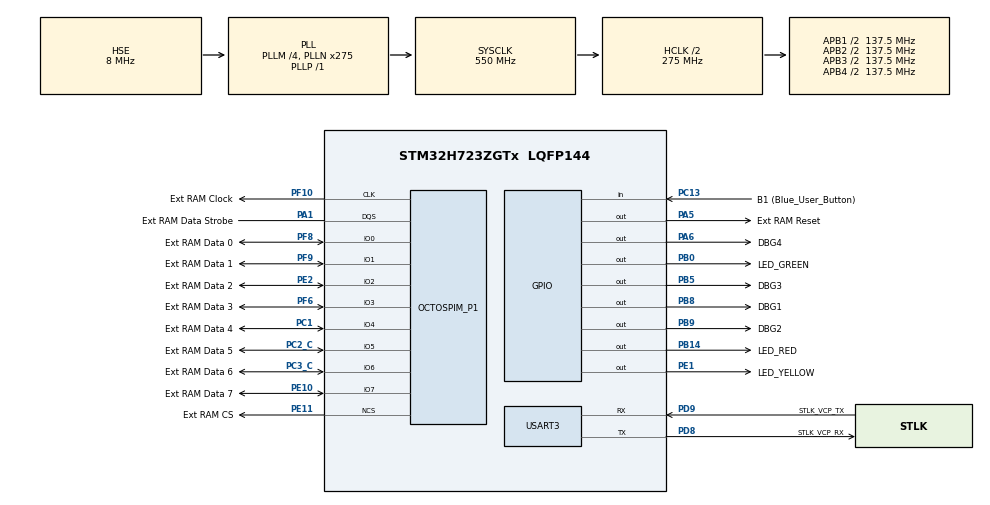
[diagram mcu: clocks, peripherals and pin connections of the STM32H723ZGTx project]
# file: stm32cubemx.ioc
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FREERTOS.Tasks01=defaultTask,24,128,StartDefaultTask,Default,NULL,Dynamic,NULL,NULL
FREERTOS.configUSE_NEWLIB_REENTRANT=1
Mcu.Family=STM32H7
Mcu.Name=STM32H723ZGTx
Mcu.Package=LQFP144
NVIC.PriorityGroup=NVIC_PRIORITYGROUP_4
NVIC.TIM6_DAC_IRQn=true\:0\:0\:true\:false\:true\:false\:false\:true
NVIC.TimeBase=TIM6_DAC_IRQn
NVIC.TimeBaseIP=TIM6
OCTOSPI1.DeviceSize=32
OCTOSPI1.FreeRunningClock=HAL_OSPI_FREERUNCLK_DISABLE
PA1.GPIO_Label=Ext RAM Data Strobe
PA1.Mode=OCTOSPI1_Port1_DQS
PA1.Signal=OCTOSPIM_P1_DQS
PA13(JTMS/SWDIO).GPIO_Label=SWDIO
PA13(JTMS/SWDIO).Mode=Trace_Asynchronous_SW
PA13(JTMS/SWDIO).Signal=DEBUG_JTMS-SWDIO
PA14(JTCK/SWCLK).GPIO_Label=SWCLK
PA14(JTCK/SWCLK).Mode=Trace_Asynchronous_SW
PA14(JTCK/SWCLK).Signal=DEBUG_JTCK-SWCLK
PA5.GPIO_Label=Ext RAM Reset
PA5.PinState=GPIO_PIN_SET
PA5.Signal=GPIO_Output
PA6.GPIO_Label=DBG4
PA6.Signal=GPIO_Output
PB0.GPIO_Label=LED_GREEN
PB0.Signal=GPIO_Output
PB14.GPIO_Label=LED_RED
PB14.Signal=GPIO_Output
PB3(JTDO/TRACESWO).GPIO_Label=SWO
PB3(JTDO/TRACESWO).Mode=Trace_Asynchronous_SW
PB3(JTDO/TRACESWO).Signal=DEBUG_JTDO-SWO
PB5.GPIO_Label=DBG3
PB5.Signal=GPIO_Output
PB8.GPIO_Label=DBG1
PB8.Signal=GPIO_Output
PB9.GPIO_Label=DBG2
PB9.Signal=GPIO_Output
PC1.GPIO_Label=Ext RAM Data 4
PC1.Mode=OCTOSPI1_IOH_Port1H
PC1.Signal=OCTOSPIM_P1_IO4
PC13.GPIO_Label=B1 (Blue_User_Button)
PC13.Signal=GPIO_Input
PC14-OSC32_IN.Mode=LSE-External-Oscillator
PC14-OSC32_IN.Signal=RCC_OSC32_IN
PC15-OSC32_OUT.Mode=LSE-External-Oscillator
PC15-OSC32_OUT.Signal=RCC_OSC32_OUT
PC2_C.GPIO_Label=Ext RAM Data 5
PC2_C.Mode=OCTOSPI1_IOH_Port1H
PC2_C.Signal=OCTOSPIM_P1_IO5
PC3_C.GPIO_Label=Ext RAM Data 6
PC3_C.Mode=OCTOSPI1_IOH_Port1H
PC3_C.Signal=OCTOSPIM_P1_IO6
PD8.GPIO_Label=STLK_VCP_RX
PD8.Mode=Asynchronous
PD8.Signal=USART3_TX
PD9.GPIO_Label=STLK_VCP_TX
PD9.Mode=Asynchronous
PD9.Signal=USART3_RX
PE1.GPIO_Label=LED_YELLOW
PE1.Signal=GPIO_Output
PE10.GPIO_Label=Ext RAM Data 7
PE10.Mode=OCTOSPI1_IOH_Port1H
PE10.Signal=OCTOSPIM_P1_IO7
PE11.GPIO_Label=Ext RAM CS
PE11.Mode=OCTOSPI1_Port1_NCS
PE11.Signal=OCTOSPIM_P1_NCS
PE2.GPIO_Label=Ext RAM Data 2
PE2.Mode=OCTOSPI1_IOL_Port1L
PE2.Signal=OCTOSPIM_P1_IO2
PF10.GPIO_Label=Ext RAM Clock
PF10.Mode=O1_P1_CLK
PF10.Signal=OCTOSPIM_P1_CLK
PF6.GPIO_Label=Ext RAM Data 3
PF6.Mode=OCTOSPI1_IOL_Port1L
PF6.Signal=OCTOSPIM_P1_IO3
PF8.GPIO_Label=Ext RAM Data 0
PF8.Mode=OCTOSPI1_IOL_Port1L
PF8.Signal=OCTOSPIM_P1_IO0
PF9.GPIO_Label=Ext RAM Data 1
PF9.Mode=OCTOSPI1_IOL_Port1L
PF9.Signal=OCTOSPIM_P1_IO1
PH0-OSC_IN.GPIO_Label=MCO
PH0-OSC_IN.Mode=HSE-External-Clock-Source
PH0-OSC_IN.Signal=RCC_OSC_IN
PH1-OSC_OUT.Signal=RCC_OSC_OUT
ProjectManager.HeapSize=0x8000
ProjectManager.StackSize=0x400
ProjectManager.TargetToolchain=STM32CubeIDE
RCC.ADCFreq_Value=76000000
RCC.APB1Freq_Value=137500000
RCC.APB2Freq_Value=137500000
RCC.APB3Freq_Value=137500000
RCC.APB4Freq_Value=137500000
RCC.CortexFreq_Value=550000000
RCC.D1PPRE=RCC_APB3_DIV2
RCC.D2PPRE1=RCC_APB1_DIV2
RCC.D2PPRE2=RCC_APB2_DIV2
RCC.D3PPRE=RCC_APB4_DIV2
RCC.DIVM1=4
RCC.DIVM2=1
RCC.DIVN1=275
RCC.DIVN2=19
RCC.DIVP1=1
RCC.DIVQ1=4
RCC.HCLKFreq_Value=275000000
RCC.HPRE=RCC_HCLK_DIV2
RCC.HSE_VALUE=8000000
RCC.HSIDiv=RCC_PLLSAIDIVR_2
RCC.PLLFRACN=0
RCC.PLLSourceVirtual=RCC_PLLSOURCE_HSE
RCC.QSPICLockSelection=RCC_OSPICLKSOURCE_CLKP
RCC.SYSCLKFreq_VALUE=550000000
RCC.SYSCLKSource=RCC_SYSCLKSOURCE_PLLCLK
RCC.USBCLockSelection=RCC_USBCLKSOURCE_HSI48
RCC.USBFreq_Value=48000000
USART3.VirtualMode-Asynchronous=VM_ASYNC
VP_FREERTOS_VS_CMSIS_V2.Mode=CMSIS_V2
VP_OCTOSPI1_VS_octo.Mode=octo_mode
VP_SYS_VS_tim6.Mode=TIM6
board=NUCLEO-H723ZG

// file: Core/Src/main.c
/* USER CODE BEGIN Header */
/**
  ******************************************************************************
  * @file           : main.c
  * @brief          : Main program body
  ******************************************************************************
  * @attention
  *
  * <h2><center>&copy; Copyright (c) 2021 STMicroelectronics.
  * All rights reserved.</center></h2>
  *
  * This software component is licensed by ST under Ultimate Liberty license
  * SLA0044, the "License"; You may not use this file except in compliance with
  * the License. You may obtain a copy of the License at:
  *                             www.st.com/SLA0044
  *
  ******************************************************************************
  */
/* USER CODE END Header */
#include "main.h"
#include "cmsis_os.h"

/* USER CODE BEGIN Includes */

#define LOG_MODULE_NAME         app
#define LOG_LEVEL               LOG_LEVEL_DEBUG

#include "log.h"

#include "debug.h"
#include "external_ram.h"

/* USER CODE END Includes */

OSPI_HandleTypeDef hospi1;

UART_HandleTypeDef huart3;

/* Definitions for defaultTask */
osThreadId_t defaultTaskHandle;
const osThreadAttr_t defaultTask_attributes = {
  .name = "defaultTask",
  .stack_size = 128 * 4,
  .priority = (osPriority_t) osPriorityNormal,
};

void SystemClock_Config(void);
void PeriphCommonClock_Config(void);
static void MX_GPIO_Init(void);
static void MX_USART3_UART_Init(void);
static void MX_OCTOSPI1_Init(void);
void StartDefaultTask(void *argument);

/* USER CODE BEGIN 0 */

static void _dump_ospim_regs(const char *descript)
{
    LOG_DEBUG("%s (0x%08x)\n", descript, OCTOSPIM);
    LOG_DEBUG(" %6s: 0x%08x (0x%08x)\n", "CR", OCTOSPIM->CR, &OCTOSPIM->CR);
    LOG_DEBUG(" %6s: 0x%08x (0x%08x)\n", "P1CR", OCTOSPIM->PCR[0], &OCTOSPIM->PCR[0]);
    LOG_DEBUG(" %6s: 0x%08x (0x%08x)\n", "P2CR", OCTOSPIM->PCR[1], &OCTOSPIM->PCR[1]);
}

#if 0
static void _fix_ospim_regs(void)
{
    OCTOSPIM->PCR[0] = 0x03010111;
    OCTOSPIM->PCR[1] = 0x07050333;
}
#endif
/* USER CODE END 0 */

int main(void)
{

  /* MCU Configuration--------------------------------------------------------*/

  /* Reset of all peripherals, Initializes the Flash interface and the Systick. */
  HAL_Init();

  /* USER CODE BEGIN Init */
  // Create this as early as possible so that the queue is available to store
  // messages from other initialization routines
  log_task_init();

  /* USER CODE END Init */

  /* Configure the system clock */
  SystemClock_Config();

/* Configure the peripherals common clocks */
  PeriphCommonClock_Config();

  /* USER CODE BEGIN SysInit */

  // Move GPIO init earlier so that we can init the debug pins before the other
  // peripheral initializations.
  MX_GPIO_Init();

  // Initialize the debug pins after the GPIO is running
  debug_init();

  /* USER CODE END SysInit */

  /* Initialize all configured peripherals */
  MX_USART3_UART_Init();
  MX_OCTOSPI1_Init();
  /* USER CODE BEGIN 2 */

  external_ram_init(&hospi1);

  LOG_DEBUG("Ready\n");
  /* USER CODE END 2 */

  /* Init scheduler */
  osKernelInitialize();

  /* Create the thread(s) */
  /* creation of defaultTask */
  defaultTaskHandle = osThreadNew(StartDefaultTask, NULL, &defaultTask_attributes);

  /* Start scheduler */
  osKernelStart();

  /* We should never get here as control is now taken by the scheduler */
  /* Infinite loop */
  while (1)
  {

  }
}

void SystemClock_Config(void)
{
  RCC_OscInitTypeDef RCC_OscInitStruct = {0};
  RCC_ClkInitTypeDef RCC_ClkInitStruct = {0};

  /** Supply configuration update enable
  */
  HAL_PWREx_ConfigSupply(PWR_LDO_SUPPLY);
  /** Configure the main internal regulator output voltage
  */
  __HAL_PWR_VOLTAGESCALING_CONFIG(PWR_REGULATOR_VOLTAGE_SCALE0);

  while(!__HAL_PWR_GET_FLAG(PWR_FLAG_VOSRDY)) {}
  /** Initializes the RCC Oscillators according to the specified parameters
  * in the RCC_OscInitTypeDef structure.
  */
  RCC_OscInitStruct.OscillatorType = RCC_OSCILLATORTYPE_HSI|RCC_OSCILLATORTYPE_HSE;
  RCC_OscInitStruct.HSEState = RCC_HSE_BYPASS;
  RCC_OscInitStruct.HSIState = RCC_HSI_DIV2;
  RCC_OscInitStruct.HSICalibrationValue = RCC_HSICALIBRATION_DEFAULT;
  RCC_OscInitStruct.PLL.PLLState = RCC_PLL_ON;
  RCC_OscInitStruct.PLL.PLLSource = RCC_PLLSOURCE_HSE;
  RCC_OscInitStruct.PLL.PLLM = 4;
  RCC_OscInitStruct.PLL.PLLN = 275;
  RCC_OscInitStruct.PLL.PLLP = 1;
  RCC_OscInitStruct.PLL.PLLQ = 4;
  RCC_OscInitStruct.PLL.PLLR = 2;
  RCC_OscInitStruct.PLL.PLLRGE = RCC_PLL1VCIRANGE_1;
  RCC_OscInitStruct.PLL.PLLVCOSEL = RCC_PLL1VCOWIDE;
  RCC_OscInitStruct.PLL.PLLFRACN = 0;
  if (HAL_RCC_OscConfig(&RCC_OscInitStruct) != HAL_OK)
  {
    Error_Handler();
  }
  /** Initializes the CPU, AHB and APB buses clocks
  */
  RCC_ClkInitStruct.ClockType = RCC_CLOCKTYPE_HCLK|RCC_CLOCKTYPE_SYSCLK
                              |RCC_CLOCKTYPE_PCLK1|RCC_CLOCKTYPE_PCLK2
                              |RCC_CLOCKTYPE_D3PCLK1|RCC_CLOCKTYPE_D1PCLK1;
  RCC_ClkInitStruct.SYSCLKSource = RCC_SYSCLKSOURCE_PLLCLK;
  RCC_ClkInitStruct.SYSCLKDivider = RCC_SYSCLK_DIV1;
  RCC_ClkInitStruct.AHBCLKDivider = RCC_HCLK_DIV2;
  RCC_ClkInitStruct.APB3CLKDivider = RCC_APB3_DIV2;
  RCC_ClkInitStruct.APB1CLKDivider = RCC_APB1_DIV2;
  RCC_ClkInitStruct.APB2CLKDivider = RCC_APB2_DIV2;
  RCC_ClkInitStruct.APB4CLKDivider = RCC_APB4_DIV2;

  if (HAL_RCC_ClockConfig(&RCC_ClkInitStruct, FLASH_LATENCY_3) != HAL_OK)
  {
    Error_Handler();
  }
}

void PeriphCommonClock_Config(void)
{
  RCC_PeriphCLKInitTypeDef PeriphClkInitStruct = {0};

  /** Initializes the peripherals clock
  */
  PeriphClkInitStruct.PeriphClockSelection = RCC_PERIPHCLK_CKPER;
  PeriphClkInitStruct.CkperClockSelection = RCC_CLKPSOURCE_HSI;
  if (HAL_RCCEx_PeriphCLKConfig(&PeriphClkInitStruct) != HAL_OK)
  {
    Error_Handler();
  }
}

static void MX_OCTOSPI1_Init(void)
{

  /* USER CODE BEGIN OCTOSPI1_Init 0 */
  _dump_ospim_regs("Before HAL_OSPI_Init");
  /* USER CODE END OCTOSPI1_Init 0 */

  OSPIM_CfgTypeDef sOspiManagerCfg = {0};

  /* OCTOSPI1 parameter configuration*/
  hospi1.Instance = OCTOSPI1;
  hospi1.Init.FifoThreshold = 1;
  hospi1.Init.DualQuad = HAL_OSPI_DUALQUAD_DISABLE;
  hospi1.Init.MemoryType = HAL_OSPI_MEMTYPE_MICRON;
  hospi1.Init.DeviceSize = 32;
  hospi1.Init.ChipSelectHighTime = 1;
  hospi1.Init.FreeRunningClock = HAL_OSPI_FREERUNCLK_DISABLE;
  hospi1.Init.ClockMode = HAL_OSPI_CLOCK_MODE_0;
  hospi1.Init.WrapSize = HAL_OSPI_WRAP_NOT_SUPPORTED;
  hospi1.Init.ClockPrescaler = 1;
  hospi1.Init.SampleShifting = HAL_OSPI_SAMPLE_SHIFTING_NONE;
  hospi1.Init.DelayHoldQuarterCycle = HAL_OSPI_DHQC_DISABLE;
  hospi1.Init.ChipSelectBoundary = 1;
  hospi1.Init.ClkChipSelectHighTime = 0;
  hospi1.Init.DelayBlockBypass = HAL_OSPI_DELAY_BLOCK_BYPASSED;
  hospi1.Init.MaxTran = 0;
  hospi1.Init.Refresh = 0;
  debug_set(DEBUG_PIN_2);
  if (HAL_OSPI_Init(&hospi1) != HAL_OK)
  {
    Error_Handler();
  }
  debug_clear(DEBUG_PIN_2);

  _dump_ospim_regs("After HAL_OSPI_Init");

  sOspiManagerCfg.ClkPort = 1;
  sOspiManagerCfg.DQSPort = 1;
  sOspiManagerCfg.NCSPort = 1;
  sOspiManagerCfg.IOLowPort = HAL_OSPIM_IOPORT_1_LOW;
  sOspiManagerCfg.IOHighPort = HAL_OSPIM_IOPORT_1_HIGH;
  debug_set(DEBUG_PIN_2);
  if (HAL_OSPIM_Config(&hospi1, &sOspiManagerCfg, HAL_OSPI_TIMEOUT_DEFAULT_VALUE) != HAL_OK)
  {
    Error_Handler();
  }
  debug_clear(DEBUG_PIN_2);
  /* USER CODE BEGIN OCTOSPI1_Init 2 */
  _dump_ospim_regs("After HAL_OSPIM_Config");
  /* USER CODE END OCTOSPI1_Init 2 */

}

static void MX_USART3_UART_Init(void)
{

  huart3.Instance = USART3;
  huart3.Init.BaudRate = 115200;
  huart3.Init.WordLength = UART_WORDLENGTH_8B;
  huart3.Init.StopBits = UART_STOPBITS_1;
  huart3.Init.Parity = UART_PARITY_NONE;
  huart3.Init.Mode = UART_MODE_TX_RX;
  huart3.Init.HwFlowCtl = UART_HWCONTROL_NONE;
  huart3.Init.OverSampling = UART_OVERSAMPLING_16;
  huart3.Init.OneBitSampling = UART_ONE_BIT_SAMPLE_DISABLE;
  huart3.Init.ClockPrescaler = UART_PRESCALER_DIV1;
  huart3.AdvancedInit.AdvFeatureInit = UART_ADVFEATURE_NO_INIT;
  if (HAL_UART_Init(&huart3) != HAL_OK)
  {
    Error_Handler();
  }
  if (HAL_UARTEx_SetTxFifoThreshold(&huart3, UART_TXFIFO_THRESHOLD_1_8) != HAL_OK)
  {
    Error_Handler();
  }
  if (HAL_UARTEx_SetRxFifoThreshold(&huart3, UART_RXFIFO_THRESHOLD_1_8) != HAL_OK)
  {
    Error_Handler();
  }
  if (HAL_UARTEx_DisableFifoMode(&huart3) != HAL_OK)
  {
    Error_Handler();
  }

}

static void MX_GPIO_Init(void)
{
  GPIO_InitTypeDef GPIO_InitStruct = {0};

  /* GPIO Ports Clock Enable */
  __HAL_RCC_GPIOE_CLK_ENABLE();
  __HAL_RCC_GPIOC_CLK_ENABLE();
  __HAL_RCC_GPIOF_CLK_ENABLE();
  __HAL_RCC_GPIOH_CLK_ENABLE();
  __HAL_RCC_GPIOA_CLK_ENABLE();
  __HAL_RCC_GPIOB_CLK_ENABLE();
  __HAL_RCC_GPIOD_CLK_ENABLE();

  /*Configure GPIO pin Output Level */
  HAL_GPIO_WritePin(Ext_RAM_Reset_GPIO_Port, Ext_RAM_Reset_Pin, GPIO_PIN_SET);

  /*Configure GPIO pin Output Level */
  HAL_GPIO_WritePin(DBG4_GPIO_Port, DBG4_Pin, GPIO_PIN_RESET);

  /*Configure GPIO pin Output Level */
  HAL_GPIO_WritePin(GPIOB, LED_GREEN_Pin|LED_RED_Pin|DBG3_Pin|DBG1_Pin
                          |DBG2_Pin, GPIO_PIN_RESET);

  /*Configure GPIO pin Output Level */
  HAL_GPIO_WritePin(LED_YELLOW_GPIO_Port, LED_YELLOW_Pin, GPIO_PIN_RESET);

  /*Configure GPIO pin : B1_Pin */
  GPIO_InitStruct.Pin = B1_Pin;
  GPIO_InitStruct.Mode = GPIO_MODE_INPUT;
  GPIO_InitStruct.Pull = GPIO_NOPULL;
  HAL_GPIO_Init(B1_GPIO_Port, &GPIO_InitStruct);

  /*Configure GPIO pins : Ext_RAM_Reset_Pin DBG4_Pin */
  GPIO_InitStruct.Pin = Ext_RAM_Reset_Pin|DBG4_Pin;
  GPIO_InitStruct.Mode = GPIO_MODE_OUTPUT_PP;
  GPIO_InitStruct.Pull = GPIO_NOPULL;
  GPIO_InitStruct.Speed = GPIO_SPEED_FREQ_LOW;
  HAL_GPIO_Init(GPIOA, &GPIO_InitStruct);

  /*Configure GPIO pins : LED_GREEN_Pin LED_RED_Pin DBG3_Pin DBG1_Pin
                           DBG2_Pin */
  GPIO_InitStruct.Pin = LED_GREEN_Pin|LED_RED_Pin|DBG3_Pin|DBG1_Pin
                          |DBG2_Pin;
  GPIO_InitStruct.Mode = GPIO_MODE_OUTPUT_PP;
  GPIO_InitStruct.Pull = GPIO_NOPULL;
  GPIO_InitStruct.Speed = GPIO_SPEED_FREQ_LOW;
  HAL_GPIO_Init(GPIOB, &GPIO_InitStruct);

  /*Configure GPIO pin : LED_YELLOW_Pin */
  GPIO_InitStruct.Pin = LED_YELLOW_Pin;
  GPIO_InitStruct.Mode = GPIO_MODE_OUTPUT_PP;
  GPIO_InitStruct.Pull = GPIO_NOPULL;
  GPIO_InitStruct.Speed = GPIO_SPEED_FREQ_LOW;
  HAL_GPIO_Init(LED_YELLOW_GPIO_Port, &GPIO_InitStruct);

}

void StartDefaultTask(void *argument)
{
  /* USER CODE BEGIN 5 */
  uint8_t state = 0;
  /* Infinite loop */
  for(;;)
  {
    state = !state;

    HAL_GPIO_WritePin(LED_GREEN_GPIO_Port, LED_GREEN_Pin, state);

    HAL_Delay(500);
  }
  /* USER CODE END 5 */
}

void HAL_TIM_PeriodElapsedCallback(TIM_HandleTypeDef *htim)
{
  if (htim->Instance == TIM6) {
    HAL_IncTick();
  }
}

void Error_Handler(void)
{
  __disable_irq();
  while (1)
  {
  }
}

/************************ (C) COPYRIGHT STMicroelectronics *****END OF FILE****/
